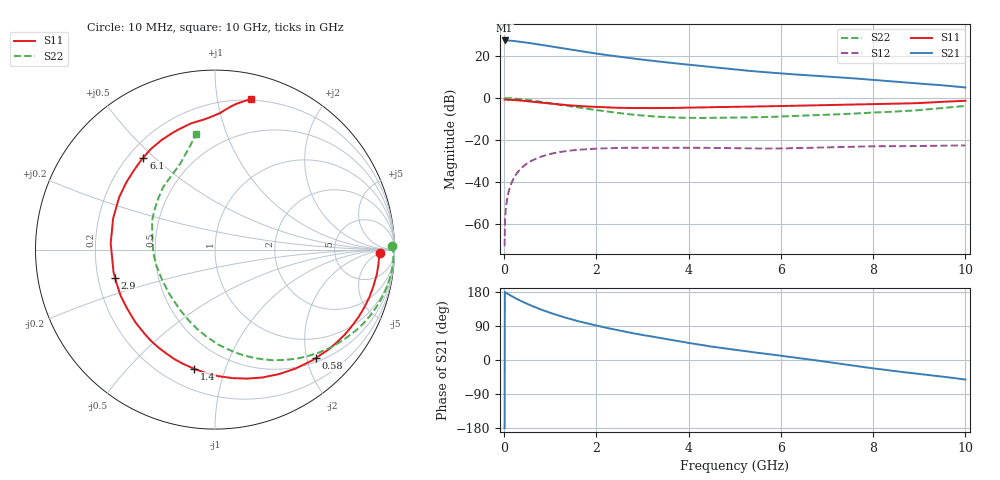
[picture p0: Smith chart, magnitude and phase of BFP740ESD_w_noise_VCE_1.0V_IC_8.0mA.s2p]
! Infineon Technologies  Discrete & RF Semiconductors
! BFP740ESD
! VCE =  1.0 V,  IC =  8.0 mA
! Common Emitter S-Parameters:  Jan 2016
# GHz  S  MA  R  50
!  f  S11  S21  S12  S22
! GHz  MAG  ANG  MAG  ANG  MAG  ANG  MAG  ANG
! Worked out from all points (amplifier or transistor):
!   233 points, 10 MHz to 10 GHz, reference 50 ohm
!   highest |S21| = 27.4 dB at 10 MHz (marker M1)
!   |S21| within 3 dB of that: start of sweep to 1.06 GHz
!   unconditionally stable (mu >= 1): 5.385 GHz to 9.474 GHz
!   at 200 MHz: K = 0.06, MSG = 32.8 dB, |S12| = -38.5 dB
!   at 1.74 GHz: K = 0.35, MSG = 23.2 dB, |S12| = -24.4 dB
!   at 10 GHz: K = 0.82, MSG = 13.8 dB, |S12| = -22.5 dB
!   lowest NFmin = 0.57 dB at 450 MHz
!   S11 on the Smith chart (normalised r, x): 10 MHz: 23, -6; 580 MHz: 0.57, -2.17; 1.4 GHz: 0.32, -0.79; 2.9 GHz: 0.27, -0.13; 6.1 GHz: 0.26, +0.46; 10 GHz: 0.19, +1.25
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0.01  0.9209 -1.3  23.46 -179.8  0.0003 -153.3  0.9876 1.2
0.02  0.915 -1.7  23.17 179.0  0.0013 84.5  0.995 -1.2
0.065  0.9136 -5.8  23.27 175.5  0.004 84.9  0.9945 -4.1
0.15  0.9062 -13.0  23.14 169.5  0.009 82.3  0.9872 -9.5
0.28  0.886 -23.8  22.36 160.8  0.0165 75.5  0.963 -17.3
0.4  0.8642 -33.3  21.53 153.7  0.0229 70.0  0.9341 -24.2
0.58  0.8251 -47.1  20.14 143.9  0.0316 62.1  0.8821 -33.8
0.7  0.8004 -55.9  19.25 137.9  0.0367 57.3  0.8468 -39.9
0.9  0.7604 -69.5  17.75 128.7  0.0438 50.0  0.7859 -49.2
1.16  0.7116 -85.8  15.94 118.1  0.0509 41.7  0.708 -60.4
1.4  0.6748 -99.8  14.42 109.2  0.0558 35.2  0.6436 -69.9
1.68  0.6411 -114.1  12.92 100.1  0.0597 28.8  0.5793 -79.5
2.2  0.6007 -137.6  10.66 85.3  0.0641 19.4  0.4835 -96.3
2.58  0.5851 -153.1  9.367 75.7  0.0657 13.8  0.4278 -108.5
2.9  0.5784 -164.3  8.455 68.3  0.0661 10.1  0.3927 -118.4
3.4  0.578 179.7  7.305 57.7  0.0663 5.2  0.3575 -133.5
4  0.5937 162.9  6.228 45.0  0.0661 0.5  0.3384 -151.9
5.1  0.6216 141.4  4.667 25.4  0.0636 -4.7  0.3445 -178.7
6.1  0.6498 127.9  3.79 9.7  0.0636 -5.8  0.3673 162.2
6.8  0.672 118.7  3.355 -1.6  0.0663 -7.2  0.3933 151.0
8.4  0.7275 94.9  2.482 -28.2  0.0715 -14.6  0.4719 122.3
10  0.8618 76.7  1.786 -51.7  0.0748 -21.4  0.6498 99.2
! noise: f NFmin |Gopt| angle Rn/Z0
0.45  0.57  0.28  4  0.13
0.9  0.6  0.28  15  0.1
1.9  0.62  0.25  24  0.09
2.4  0.67  0.19  44  0.12
5.5  0.89  0.23  -151  0.13
10  1.72  0.58  -92  0.5
